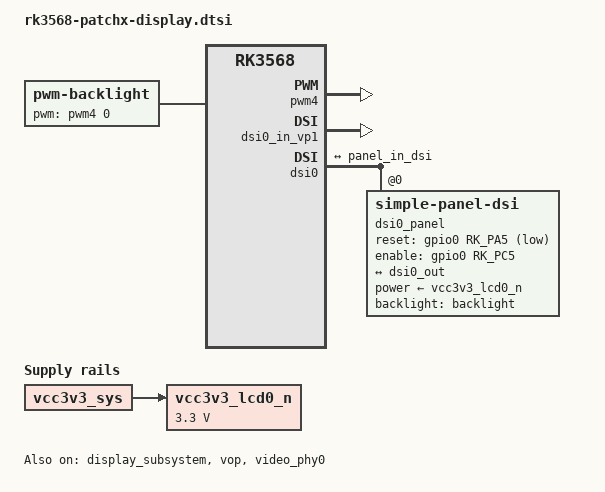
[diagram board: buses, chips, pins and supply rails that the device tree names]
// SPDX-License-Identifier: (GPL-2.0+ OR MIT)
/* 720x720 panel, DSI0 and PWM4 used in the 2026-10-11 Linux RAM trial.
 * Keep loader allocations; the Linux display does not map its logo.
 */
#include <dt-bindings/display/drm_mipi_dsi.h>

/ {
    vcc3v3_lcd0_n: vcc3v3-lcd0-n {
        compatible = "regulator-fixed";
        regulator-name = "vcc3v3_lcd0_n";
        regulator-min-microvolt = <3300000>;
        regulator-max-microvolt = <3300000>;
        regulator-boot-on;
        vin-supply = <&vcc3v3_sys>;
        /* Preserved Android flag; the original regulator has no GPIO. */
        enable-active-high;
        status = "okay";
        regulator-state-mem {
            regulator-off-in-suspend;
        };
    };

    backlight: backlight {
        compatible = "pwm-backlight";
        pwms = <&pwm4 0 25000 0>;
        /* Original brightness table; default zero keeps boot display dark. */
        brightness-levels = <
            0 20 20 21 21 22 22 23 23 24 24 25 25 26 26 27
            27 28 28 29 29 30 30 31 31 32 32 33 33 34 34 35
            35 36 36 37 37 38 38 39 40 41 42 43 44 45 46 47
            48 49 50 51 52 53 54 55 56 57 58 59 60 61 62 63
            64 65 66 67 68 69 70 71 72 73 74 75 76 77 78 79
            80 81 82 83 84 85 86 87 88 89 90 91 92 93 94 95
            96 97 98 99 100 101 102 103 104 105 106 107 108 109 110 111
            112 113 114 115 116 117 118 119 120 121 122 123 124 125 126 127
            128 129 130 131 132 133 134 135 136 137 138 139 140 141 142 143
            144 145 146 147 148 149 150 151 152 153 154 155 156 157 158 159
            160 161 162 163 164 165 166 167 168 169 170 171 172 173 174 175
            176 177 178 179 180 181 182 183 184 185 186 187 188 189 190 191
            192 193 194 195 196 197 198 199 200 201 202 203 204 205 206 207
            208 209 210 211 212 213 214 215 216 217 218 219 220 221 222 223
            224 225 226 227 228 229 230 231 232 233 234 235 236 237 238 239
            240 241 242 243 244 245 246 247 248 249 250 251 252 253 254 255
        >;
        default-brightness-level = <0>;
    };
};

&display_subsystem {
    /delete-property/ memory-region;
    /delete-property/ memory-region-names;
    status = "okay";
};

/* No bootloader logo takeover: preserve the reserved bytes without mapping. */
&route_dsi0 { status = "disabled"; };
&route_dsi1 { status = "disabled"; };
&route_edp { status = "disabled"; };
&route_hdmi { status = "disabled"; };
&route_lvds { status = "disabled"; };
&route_rgb { status = "disabled"; };

&vop { status = "okay"; };
&vop_mmu { status = "okay"; };
&video_phy0 { status = "okay"; };
&pwm4 { status = "okay"; };
&dsi0_in_vp0 { status = "disabled"; };
&dsi0_in_vp1 { status = "okay"; };

&dsi0 {
    status = "okay";
    ports {
        port@1 {
            reg = <1>;
            dsi0_out: endpoint {
                remote-endpoint = <&panel_in_dsi>;
            };
        };
    };
    dsi0_panel: panel@0 {
        compatible = "simple-panel-dsi";
        reg = <0>;
        status = "okay";
        power-supply = <&vcc3v3_lcd0_n>;
        backlight = <&backlight>;
        reset-gpios = <&gpio0 RK_PA5 GPIO_ACTIVE_LOW>;
        enable-gpios = <&gpio0 RK_PC5 GPIO_ACTIVE_HIGH>;
        prepare-delay-ms = <50>;
        reset-delay-ms = <120>;
        init-delay-ms = <120>;
        enable-delay-ms = <220>;
        disable-delay-ms = <120>;
        unprepare-delay-ms = <120>;
        screen-type = <2>;
        dsi,lanes = <4>;
        dsi,format = <MIPI_DSI_FMT_RGB888>;
        /* 5.10 flag bit9 is EOT; bit10 non-continuous clock remains unset. */
        dsi,flags = <(MIPI_DSI_MODE_VIDEO | MIPI_DSI_MODE_VIDEO_BURST |
                      MIPI_DSI_MODE_EOT_PACKET | MIPI_DSI_MODE_LPM)>;
        /* Panel command bytes are in rk3568-patchx-panel-init.dtsi. */
        port {
            panel_in_dsi: endpoint {
                remote-endpoint = <&dsi0_out>;
            };
        };
        display-timings {
            native-mode = <&dsi0_timing>;
            dsi0_timing: timing0 {
                clock-frequency = <35500000>;
                hactive = <720>;
                hfront-porch = <24>;
                hsync-len = <2>;
                hback-porch = <30>;
                vactive = <720>;
                vfront-porch = <16>;
                vsync-len = <2>;
                vback-porch = <8>;
                hsync-active = <0>;
                vsync-active = <0>;
                de-active = <0>;
                pixelclk-active = <0>;
            };
        };
    };
};
